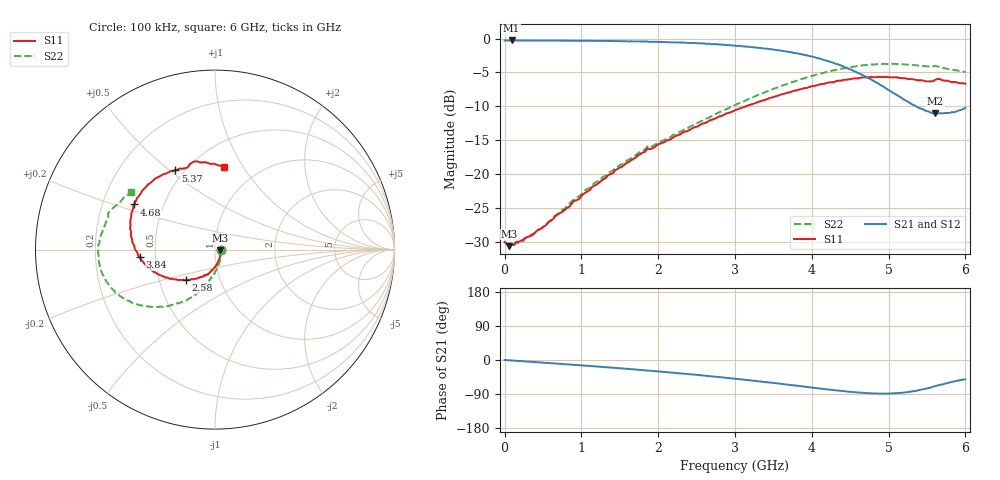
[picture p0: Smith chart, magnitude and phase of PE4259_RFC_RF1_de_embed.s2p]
! Created Fri Oct 06 15:03:57 2006
# hz S ma R 50
! 2 Port Network Data from SP1.SP block
! freq  magS11  angS11  magS21  angS21  magS12  angS12  magS22  angS22
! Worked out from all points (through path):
!   201 points, 100 kHz to 6 GHz, reference 50 ohm
!   highest |S21| = -0.28 dB at 90.1 MHz (marker M1); lowest = -11.0 dB at 5.61 GHz (marker M2)
!   group delay of S21, straight-line fit = 41.5 ps
!   lowest |S11| = -30.6 dB at 60.1 MHz (marker M3), VSWR 1.06, Z = 53 - j0.322 ohm
!   |S11| at or under -10 dB: start of sweep to 3.139 GHz
!   |S22| runs from -30.6 to -3.7 dB; largest |S21 - S12| = 0.0089
!   S11 on the Smith chart (normalised r, x): 100 kHz: 1.07, -0.00; 2.58 GHz: 0.68, -0.25; 3.84 GHz: 0.41, -0.04; 4.68 GHz: 0.34, +0.23; 5.37 GHz: 0.45, +0.52; 6 GHz: 0.70, +0.83
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100000  0.03161 -1.5  0.9685 0.0  0.9683 0.0  0.03159 -1.5
6.0099e7  0.0295 -5.9  0.968 -0.8  0.9683 -0.8  0.0294 -5.4
9.00985e7  0.03004 -7.7  0.9685 -1.3  0.9679 -1.3  0.02996 -7.0
2.100965e8  0.03218 -19.5  0.968 -3.0  0.9687 -3.0  0.03114 -18.8
3.60094e8  0.03602 -32.1  0.9667 -5.0  0.9672 -5.1  0.03537 -30.9
1.020083e9  0.07086 -75.5  0.9635 -14.4  0.9629 -14.6  0.07289 -69.8
1.440076e9  0.1069 -94.1  0.9578 -20.9  0.9574 -20.9  0.1112 -85.1
1.860069e9  0.1547 -110.4  0.9512 -27.8  0.951 -27.7  0.1601 -97.3
1.890068e9  0.1525 -112.2  0.9446 -28.1  0.948 -28.2  0.1564 -99.0
2.010066e9  0.1666 -114.4  0.9453 -30.1  0.9426 -30.1  0.1723 -99.7
2.580057e9  0.2358 -133.7  0.9217 -40.8  0.9197 -40.7  0.249 -110.6
3.00005e9  0.2963 -146.4  0.8865 -49.5  0.8864 -49.5  0.3234 -119.1
3.420043e9  0.358 -159.6  0.8426 -58.8  0.8411 -58.9  0.4081 -129.6
3.840036e9  0.4209 -174.2  0.7708 -68.7  0.7668 -68.5  0.497 -140.6
4.020033e9  0.4469 179.4  0.7339 -73.1  0.7265 -72.8  0.5334 -145.3
4.350028e9  0.4892 165.5  0.6424 -80.8  0.6402 -80.2  0.5923 -154.8
4.680022e9  0.5171 150.9  0.532 -86.8  0.5335 -86.2  0.6343 -165.5
5.010016e9  0.5186 134.6  0.4143 -88.3  0.4183 -88.2  0.6491 -177.0
5.37001e9  0.4939 116.7  0.3131 -81.1  0.3177 -80.6  0.6349 169.8
5.610006e9  0.4974 106.3  0.2803 -68.5  0.2836 -68.9  0.6295 161.4
5.730004e9  0.4902 97.3  0.2821 -62.7  0.282 -63.2  0.6033 155.8
6e9  0.4645 83.6  0.3076 -50.8  0.306 -50.9  0.5656 145.4
